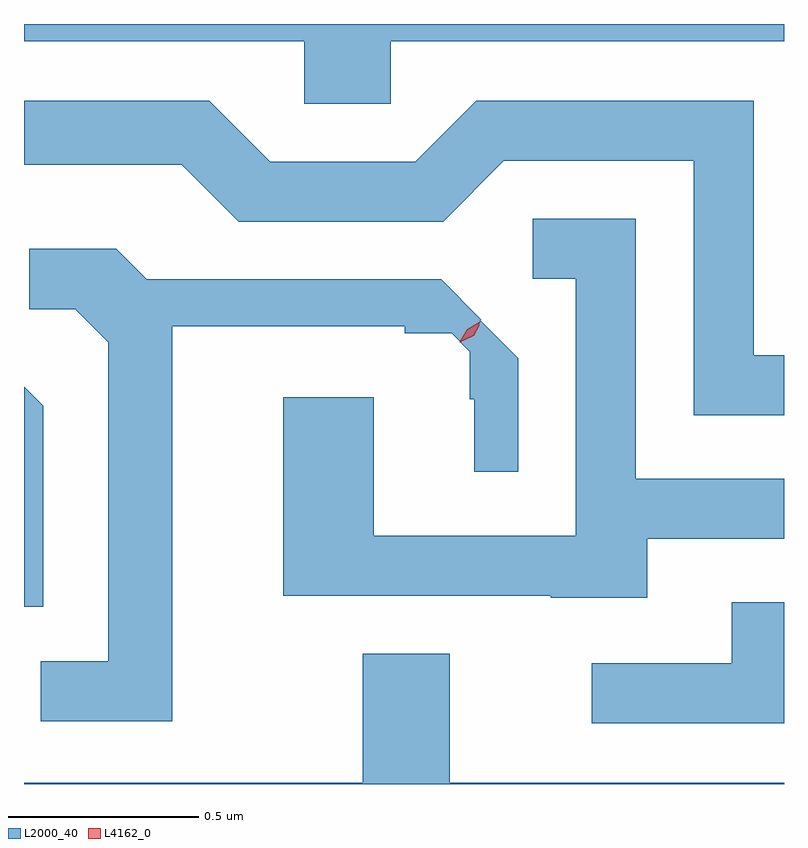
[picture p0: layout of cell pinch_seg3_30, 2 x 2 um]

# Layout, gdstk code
import gdstk
lib = gdstk.Library(unit=1e-6, precision=1e-09)
def P(c, l, *ps):  # polygons
    for p in ps: c.add(gdstk.Polygon(p, *l))
L2000_40 = (2000, 40)
L4162_0 = (4162, 0)

pinch_seg3_30 = lib.new_cell('pinch_seg3_30')
P(pinch_seg3_30, L2000_40, [(849.514,1243.676),(850.549,1243.676),(850.549,1243.721),(848.549,1243.721),(848.549,1243.676),(849.286,1243.676),(849.286,1243.511),(849.514,1243.511)],
  [(850.549,1242.849),(850.469,1242.849),(850.469,1243.519),(849.739,1243.519),(849.579,1243.359),(849.197,1243.359),(849.037,1243.519),(848.549,1243.519),(848.549,1243.351),(848.964,1243.351),(849.114,1243.201),(849.652,1243.201),(849.812,1243.361),(850.311,1243.361),(850.311,1242.691),(850.549,1242.691)],
  [(850.189,1242.366),(850.549,1242.366),(850.549,1242.524),(850.159,1242.524),(850.159,1243.209),(849.888,1243.209),(849.888,1243.051),(850.001,1243.051),(850.001,1242.374),(849.469,1242.374),(849.469,1242.739),(849.231,1242.739),(849.231,1242.216),(849.935,1242.216),(849.935,1242.211),(850.189,1242.211)],
  [(848.939,1242.925),(849.551,1242.925),(849.551,1242.907),(849.674,1242.907),(849.722,1242.858),(849.722,1242.733),(849.734,1242.733),(849.734,1242.543),(849.849,1242.543),(849.849,1242.841),(849.75,1242.941),(849.752,1242.943),(849.647,1243.049),(848.872,1243.049),(848.792,1243.129),(848.563,1243.129),(848.563,1242.971),(848.684,1242.971),(848.771,1242.884),(848.771,1242.044),(848.593,1242.044),(848.593,1241.886),(848.939,1241.886)],
  [(848.599,1242.717),(848.549,1242.767),(848.549,1242.188),(848.599,1242.188)],
  [(850.549,1242.199),(850.411,1242.199),(850.411,1242.039),(850.043,1242.039),(850.043,1241.881),(850.549,1241.881)],
  [(850.549,1241.724),(849.669,1241.724),(849.669,1242.064),(849.441,1242.064),(849.441,1241.724),(848.549,1241.724),(848.549,1241.721),(850.549,1241.721)])
P(pinch_seg3_30, L4162_0, [(849.696,1242.884),(849.696,1242.885),(849.715,1242.918),(849.748,1242.938),(849.749,1242.938),(849.749,1242.937),(849.73,1242.904),(849.697,1242.884)],
  [(849.704,1242.887),(849.704,1242.888),(849.719,1242.915),(849.747,1242.929),(849.748,1242.929),(849.748,1242.929),(849.733,1242.901),(849.705,1242.887)])

lib.write_gds('pinch_seg3_30.gds')
